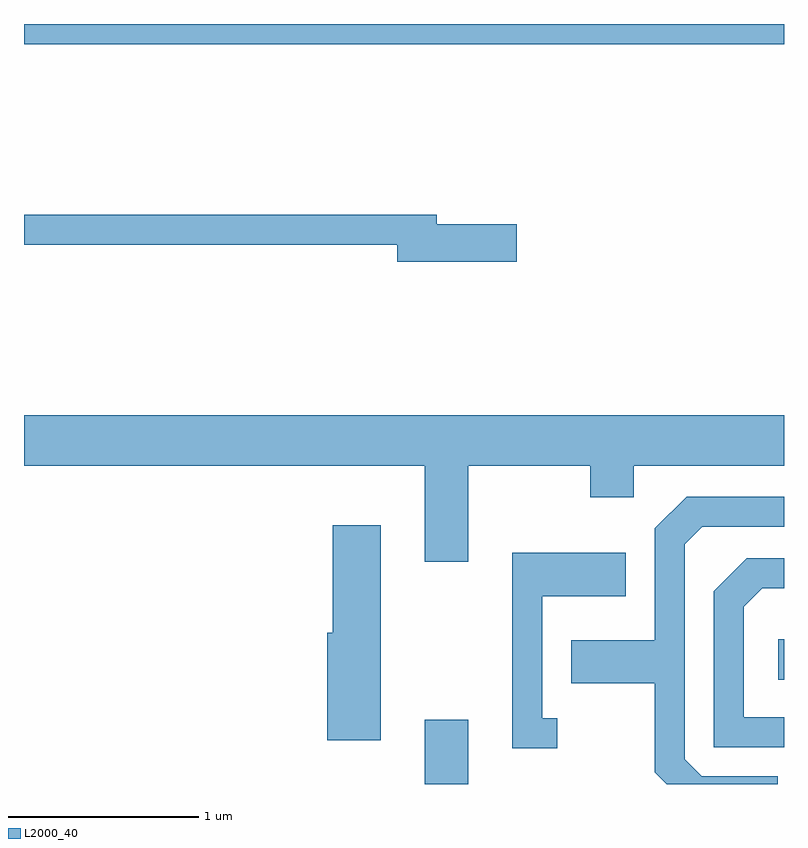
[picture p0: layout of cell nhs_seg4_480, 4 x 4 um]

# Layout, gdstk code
import gdstk
lib = gdstk.Library(unit=1e-6, precision=1e-09)
def R(c, l, rs):  # rectangles x0, y0, x1, y1
    for r in rs: c.add(gdstk.rectangle(r[:2], r[2:], *l))
def P(c, l, *ps):  # polygons
    for p in ps: c.add(gdstk.Polygon(p, *l))
L2000_40 = (2000, 40)

nhs_seg4_480 = lib.new_cell('nhs_seg4_480')
R(nhs_seg4_480, L2000_40, [(201.721,1261.982,201.949,1262.319), (203.581,1262.531,203.611,1262.744), (199.611,1265.876,203.611,1265.982)])
P(nhs_seg4_480, L2000_40, [(202.204,1264.929),(201.784,1264.929),(201.784,1264.979),(199.611,1264.979),(199.611,1264.821),(201.576,1264.821),(201.576,1264.731),(202.204,1264.731)],
  [(201.949,1263.656),(202.591,1263.656),(202.591,1263.491),(202.819,1263.491),(202.819,1263.656),(203.611,1263.656),(203.611,1263.924),(199.611,1263.924),(199.611,1263.656),(201.721,1263.656),(201.721,1263.151),(201.949,1263.151)],
  [(203.578,1262.024),(203.177,1262.024),(203.089,1262.112),(203.089,1263.244),(203.182,1263.336),(203.611,1263.336),(203.611,1263.494),(203.099,1263.494),(202.931,1263.327),(202.931,1262.739),(202.491,1262.739),(202.491,1262.511),(202.931,1262.511),(202.931,1262.044),(202.993,1261.982),(203.578,1261.982)],
  [(201.489,1263.344),(201.236,1263.344),(201.236,1262.779),(201.206,1262.779),(201.206,1262.211),(201.489,1262.211)],
  [(202.418,1262.329),(202.339,1262.329),(202.339,1262.971),(202.779,1262.971),(202.779,1263.199),(202.181,1263.199),(202.181,1262.171),(202.418,1262.171)],
  [(203.611,1262.334),(203.399,1262.334),(203.399,1262.914),(203.497,1263.011),(203.611,1263.011),(203.611,1263.169),(203.414,1263.169),(203.241,1262.997),(203.241,1262.176),(203.611,1262.176)])

lib.write_gds('nhs_seg4_480.gds')
